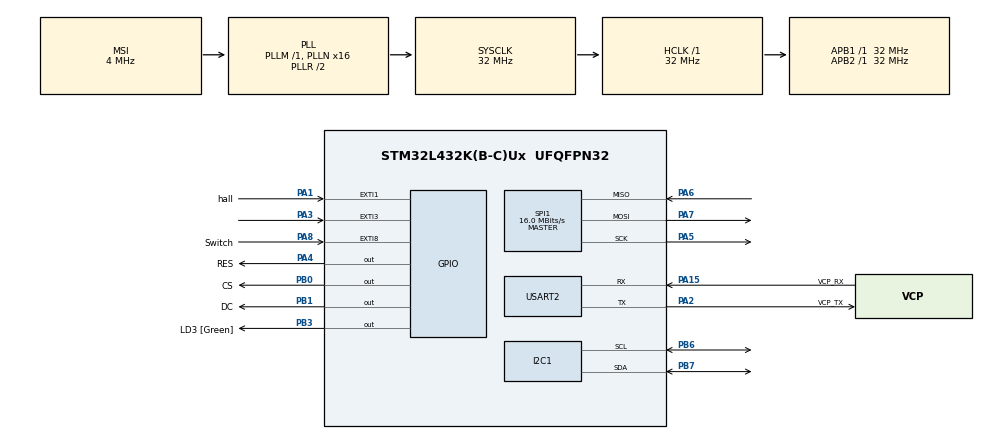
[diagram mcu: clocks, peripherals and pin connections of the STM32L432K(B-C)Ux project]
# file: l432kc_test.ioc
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I2C1.Timing=0x00B07CB4
Mcu.Family=STM32L4
Mcu.Name=STM32L432K(B-C)Ux
Mcu.Package=UFQFPN32
NVIC.EXTI3_IRQn=true\:1\:0\:true\:false\:true\:true\:true\:true
NVIC.EXTI9_5_IRQn=true\:1\:0\:true\:false\:true\:true\:true\:true
NVIC.PriorityGroup=NVIC_PRIORITYGROUP_4
NVIC.TIM2_IRQn=true\:0\:0\:false\:false\:true\:true\:true\:true
PA0.GPIO_Label=MCO [High speed clock in]
PA0.Mode=HSE-External-Clock-Source-for-LittleOrca
PA0.Signal=RCC_CK_IN
PA1.GPIO_Label=hall
PA1.GPIO_ModeDefaultEXTI=GPIO_MODE_EVT_FALLING
PA1.GPIO_PuPd=GPIO_PULLUP
PA1.Signal=GPXTI1
PA13\ (JTMS-SWDIO).GPIO_Label=SWDIO
PA13\ (JTMS-SWDIO).Mode=Serial_Wire
PA13\ (JTMS-SWDIO).Signal=SYS_JTMS-SWDIO
PA14\ (JTCK-SWCLK).GPIO_Label=SWCLK
PA14\ (JTCK-SWCLK).Mode=Serial_Wire
PA14\ (JTCK-SWCLK).Signal=SYS_JTCK-SWCLK
PA15\ (JTDI).GPIO_Label=VCP_RX
PA15\ (JTDI).Mode=Asynchronous
PA15\ (JTDI).Signal=USART2_RX
PA2.GPIO_Label=VCP_TX
PA2.Mode=Asynchronous
PA2.Signal=USART2_TX
PA3.GPIO_PuPd=GPIO_PULLDOWN
PA3.Signal=GPXTI3
PA4.GPIO_Label=RES
PA4.Signal=GPIO_Output
PA5.Mode=Full_Duplex_Master
PA5.Signal=SPI1_SCK
PA6.Mode=Full_Duplex_Master
PA6.Signal=SPI1_MISO
PA7.Mode=Full_Duplex_Master
PA7.Signal=SPI1_MOSI
PA8.GPIO_Label=Switch
PA8.GPIO_PuPd=GPIO_PULLUP
PA8.Signal=GPXTI8
PB0.GPIO_Label=CS
PB0.Signal=GPIO_Output
PB1.GPIO_Label=DC
PB1.Signal=GPIO_Output
PB3\ (JTDO-TRACESWO).GPIO_Label=LD3 [Green]
PB3\ (JTDO-TRACESWO).GPIO_PuPd=GPIO_NOPULL
PB3\ (JTDO-TRACESWO).Signal=GPIO_Output
PB6.Mode=I2C
PB6.Signal=I2C1_SCL
PB7.Mode=I2C
PB7.Signal=I2C1_SDA
PC14-OSC32_IN\ (PC14).Mode=LSE-External-Oscillator
PC14-OSC32_IN\ (PC14).Signal=RCC_OSC32_IN
PC15-OSC32_OUT\ (PC15).Mode=LSE-External-Oscillator
PC15-OSC32_OUT\ (PC15).Signal=RCC_OSC32_OUT
ProjectManager.HeapSize=0x200
ProjectManager.StackSize=0x400
ProjectManager.TargetToolchain=STM32CubeIDE
RCC.AHBFreq_Value=32000000
RCC.APB1Freq_Value=32000000
RCC.APB1TimFreq_Value=32000000
RCC.APB2Freq_Value=32000000
RCC.APB2TimFreq_Value=32000000
RCC.CortexFreq_Value=32000000
RCC.HCLKFreq_Value=32000000
RCC.HSE_VALUE=8000000
RCC.HSI16_VALUE=16000000
RCC.HSI48_VALUE=48000000
RCC.HSI_VALUE=16000000
RCC.MSI_VALUE=4000000
RCC.PLLMUL=RCC_PLLMUL_4
RCC.PLLN=16
RCC.SYSCLKFreq_VALUE=32000000
RCC.SYSCLKSource=RCC_SYSCLKSOURCE_PLLCLK
RCC.VCOOutputFreq_Value=64000000
SPI1.CalculateBaudRate=16.0 MBits/s
SPI1.DataSize=SPI_DATASIZE_8BIT
SPI1.Direction=SPI_DIRECTION_2LINES
SPI1.Mode=SPI_MODE_MASTER
SPI1.VirtualType=VM_MASTER
TIM2.Period=499
TIM2.Prescaler=31999
USART2.VirtualMode-Asynchronous=VM_ASYNC
VP_TIM2_VS_ClockSourceINT.Mode=Internal
board=NUCLEO-L432KC

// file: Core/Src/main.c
/* USER CODE BEGIN Header */
/**
  ******************************************************************************
  * @file    main.c
  * @brief   Bike Computer: BMI160 + BME280 + SSD1306 + Hall + Button + Power
  ******************************************************************************
  */
/* USER CODE END Header */

#include "main.h"
#include "i2c.h"
#include "spi.h"
#include "tim.h"
#include "usart.h"
#include "gpio.h"

/* USER CODE BEGIN Includes */
#include <stdio.h>
#include <string.h>
#include <stdarg.h>
#include <math.h>

#include "bmi160.h"
#include "bmi160_port.h"

#include "bme280.h"
#include "bme280_defs.h"

#include "ssd1306.h"
#include "ssd1306_fonts.h"
#include "hall.h"
#include "stm32l4xx_hal.h"
/* USER CODE END Includes */

/* USER CODE BEGIN PTD */
typedef struct { float alt_m; float trip_m; uint32_t t_ms; } sample_t;
/* USER CODE END PTD */

/* USER CODE BEGIN PD */
#define ACC_LSB_PER_G_2G        16384.0f
#define GYR_LSB_PER_DPS_250     131.2f

#define IMU_PERIOD_MS           200u    /* IMU tick */
#define BME_PERIOD_MS           1000u   /* BME tick */

#define WHEEL_CIRCUMFERENCE_M   2.096f  /* calibrate to your wheel */
#define HALL_DEBOUNCE_MS        12u
#define HALL_STOP_TIMEOUT_MS    2000u   /* no pulses for this time => standstill */
#define HALL_EMA_TAU_S          0.6f    /* EMA time constant [s] */
#define SPEED_MIN_MOVING_KMH    1.0f    /* autopause threshold */

#define MIN_DT_MS               1u
#define MAX_SPEED_KMH           120.0f  /* sanity limit */

#define ALT_CALIBRATION_M       0.0f    /* 0 => ALT=0 on start; or put known AMSL altitude */

#define GRAD_WINDOW_S           5u      /* gradient window 5 s */
#define VAM_WINDOW_S            30u     /* VAM window 30 s */
#define PRESS_TREND_MIN         15u     /* pressure trend (minutes) */

#define HIST5_LEN               (GRAD_WINDOW_S*5u)      /* 5 Hz */
#define HIST30_LEN              (VAM_WINDOW_S*5u)       /* 5 Hz */
#define PTREND_LEN              (PRESS_TREND_MIN*60u)   /* 1 Hz */

/* Button – uses Switch_Pin / Switch_GPIO_Port from main.h */
#define BTN_PORT        Switch_GPIO_Port
#define BTN_PIN         Switch_Pin
#define BTN_DEBOUNCE_MS 150u

/* Vibration RMS window (2 s at 5 Hz) */
#define VIB_LEN         10u

#define ICON_PLAY               ">"
#define ICON_PAUSE              "||"

/* --- Power model constants --- */
#define MASS_TOTAL_KG   90.0f   /* rider + bike mass, change for yourself */
#define C_RR            0.004f  /* rolling resistance coefficient */
#define RHO_AIR         1.20f   /* air density [kg/m^3] */
#define CD_AREA         0.35f   /* CdA [m^2] */
#define HUMAN_EFF       0.25f   /* mechanical efficiency (25%) */
/* USER CODE END PD */

/* USER CODE BEGIN PM */
#ifndef M_PI
#define M_PI 3.14159265358979323846
#endif

#define DEG(x) ((x) * (180.0f/(float)M_PI))
#define CLAMP(x,a,b) ((x)<(a)?(a):((x)>(b)?(b):(x)))

#ifndef BME280_REG_CHIP_ID
#define BME280_REG_CHIP_ID   0xD0
#define BME280_REG_CTRL_HUM  0xF2
#define BME280_REG_STATUS    0xF3
#define BME280_REG_CTRL_MEAS 0xF4
#define BME280_REG_CONFIG    0xF5
#endif
/* USER CODE END PM */

/* USER CODE BEGIN PV */
static struct bmi160_dev dev_bmi;
static struct bme280_dev dev_bme;

static uint16_t bme_addr = (0x76u << 1);

static uint32_t t_last_imu = 0;
static uint32_t t_last_bme = 0;

/* --- Ride / trip --- */
volatile uint32_t g_hall_count    = 0;
volatile uint32_t g_last_pulse_ms = 0;

static hall_state_t g_hall;

static float    g_speed_kmh       = 0.0f;   /* displayed speed */
static float    g_speed_filt_kmh  = 0.0f;   /* filtered speed (EMA) */
static float    g_speed_inst_kmh  = 0.0f;   /* instantaneous speed */
static float    g_max_speed_kmh   = 0.0f;
static float    g_trip_m          = 0.0f;   /* distance [m] */
static uint32_t g_moving_ms       = 0;      /* moving time (autopause) */
static uint8_t  g_autopause       = 1;      /* 1 = pause */

/* --- Altimeter / climb --- */
static float    g_p0_hpa          = 1013.25f;  /* reference pressure */
static uint8_t  g_p0_set          = 0;
static float    g_alt_m           = 0.0f;
static float    g_prev_alt_m      = 0.0f;
static float    g_grade_pct       = 0.0f;
static float    g_vam_mph         = 0.0f;      /* m/h */
static float    g_total_ascent_m  = 0.0f;

static sample_t hist5[HIST5_LEN];   static uint16_t h5_idx=0,  h5_cnt=0;
static sample_t hist30[HIST30_LEN]; static uint16_t h30_idx=0, h30_cnt=0;

/* --- Environment --- */
static float g_temp_c = 0.0f, g_press_hpa = 0.0f, g_hum_rh = 0.0f;
static float g_dewpoint_c = 0.0f;
static float g_press_trend_dhpa = 0.0f;  /* change in 15 min */
static char  g_press_trend_char  = '~';  /* '^', 'v', '-', '~' */
static float p_hist[PTREND_LEN]; static uint16_t p_idx=0, p_cnt=0;

/* --- IMU --- */
static float g_ax=0, g_ay=0, g_az=0;     /* [g] */
static float g_gx=0, g_gy=0, g_gz=0;     /* [dps] */
static float g_t_imu_c=0.0f;
static float g_roll_deg=0.0f, g_pitch_deg=0.0f;

static float vib_sq[VIB_LEN]; static uint8_t vib_i=0, vib_n=0;
static float g_vibr_rms_g = 0.0f;

/* --- Power / energy --- */
static float g_power_w        = 0.0f;  /* instantaneous total power [W] */
static float g_power_avg_w    = 0.0f;  /* average power over moving time [W] */
static float g_kcal_total     = 0.0f;  /* total energy [kcal] */
static float g_mech_energy_J  = 0.0f;  /* cumulative mechanical energy [J] */

/* --- UI --- */
enum { PAGE_RIDE=0, PAGE_CLIMB, PAGE_ENV, PAGE_IMU, PAGE_STATS, PAGE_COUNT };
static   uint8_t  g_ui_page = PAGE_RIDE;

/* Button logic (polling) */
static uint8_t  g_btn_pressed = 0;         // logical pressed state
static uint8_t  g_btn_event   = 0;         // new press event
static uint32_t g_btn_last_change_ms = 0;  // for debounce
/* USER CODE END PV */

void SystemClock_Config(void);
/* USER CODE BEGIN PFP */
static void uart_puts(const char *s);
static void uart_printf(const char *fmt, ...);
static void i2c_scan_print(void);

/* BMI160 */
static void  bmi160_init_polling(void);
static int   bmi160_read_acc_gyr(float *ax_g, float *ay_g, float *az_g,
                                 float *gx_dps, float *gy_dps, float *gz_dps);
static float bmi160_read_temperature_c(void);

/* BME280 – API + fallback */
static int  bme280_probe_and_init(void);
static int  bme280_read(float *temp_c, float *press_hpa, float *hum_rh);

/* Altitude & meteo helpers */
static void  update_alt_grad_vam_from_samples(void);
static float dewpoint_c(float T_c, float RH);
static void  update_pressure_trend(float p_hpa);

/* OLED / UI */
static void oled_init_and_banner(void);
static void UI_DrawRide(void);
static void UI_DrawClimb(void);
static void UI_DrawEnv(void);
static void UI_DrawIMU(void);
static void UI_DrawStats(void);

/* Button polling */
static uint8_t BTN_IsPressedRaw(void);
static void    BTN_PollTask(void);
/* USER CODE END PFP */

/* USER CODE BEGIN 0 */
static void uart_puts(const char *s) {
  HAL_UART_Transmit(&huart2, (uint8_t*)s, (uint16_t)strlen(s), HAL_MAX_DELAY);
}

static void uart_printf(const char *fmt, ...) {
  char buf[192];
  va_list ap;
  va_start(ap, fmt);
  int n = vsnprintf(buf, sizeof(buf), fmt, ap);
  va_end(ap);
  if (n > 0) {
    if (n > (int)sizeof(buf)) n = (int)sizeof(buf);
    HAL_UART_Transmit(&huart2, (uint8_t*)buf, (uint16_t)n, HAL_MAX_DELAY);
  }
}

static void i2c_scan_print(void) {
  uart_puts("I2C:");
  for (uint8_t a = 1; a < 0x7F; ++a) {
    if (HAL_I2C_IsDeviceReady(&hi2c1, (a<<1), 1, 5) == HAL_OK)
      uart_printf(" %02X", a);
  }
  uart_puts("\r\n");
}
/* USER CODE END 0 */

int main(void)
{
  /* Reset of all peripherals, Initializes the Flash interface and the Systick. */
  HAL_Init();

  /* Configure the system clock */
  SystemClock_Config();

  /* Initialize all configured peripherals */
  MX_GPIO_Init();
  MX_USART2_UART_Init();
  MX_I2C1_Init();
  MX_SPI1_Init();
  MX_TIM2_Init();

  HAL_TIM_Base_Start_IT(&htim2);  /* Timer for speed / power / alt updates */

  /* Hall processing init (speed/distance from period between pulses) */
  Hall_Init(&g_hall, WHEEL_CIRCUMFERENCE_M);
  Hall_SetParams(&g_hall, HALL_DEBOUNCE_MS, HALL_STOP_TIMEOUT_MS, MAX_SPEED_KMH, HALL_EMA_TAU_S);

  uart_puts("\r\n--- Bike Computer start ---\r\n");
  i2c_scan_print();

  /* OLED */
  oled_init_and_banner();

  /* BMI160 */
  bmi160_port_init_i2c(&dev_bmi);
  bmi160_init_polling();

  /* BME280 */
  if (bme280_probe_and_init() == 0) uart_puts("BME280 OK\r\n");
  else                              uart_puts("BME280 NOT FOUND\r\n");

  /* CSV header (log) */
  uart_puts("time_ms,ax_g,ay_g,az_g,gx_dps,gy_dps,gz_dps,temp_IMU_C,"
            "Temp_C,Press_hPa,Hum_%RH,Alt_m,Grad_pct,VAM_mph,Ascent_m,"
            "Speed_kmh,Trip_km,Moving_s,AvgMov_kmh,Max_kmh,Power_W,AvgPow_W,Kcal\r\n");

  /* Main loop */
  t_last_imu = t_last_bme = HAL_GetTick();
  while (1) {
    uint32_t now = HAL_GetTick();

    /* Hall maintenance: apply stop timeout only (avoid decaying speed between valid pulses) */
    if (g_hall.last_pulse_ms != 0u && (uint32_t)(now - g_hall.last_pulse_ms) > g_hall.stop_timeout_ms) {
      Hall_TaskMs(&g_hall, now);
    }

    /* --- BUTTON: priority, handle first --- */
    BTN_PollTask();
    if (g_btn_event) {
      g_btn_event = 0;
      g_ui_page = (uint8_t)((g_ui_page + 1u) % PAGE_COUNT);
      uart_printf("BTN EVENT -> page=%u\r\n", (unsigned)g_ui_page);
    }

    /* IMU every 200 ms */
    if ((now - t_last_imu) >= IMU_PERIOD_MS) {
      (void)bmi160_read_acc_gyr(&g_ax,&g_ay,&g_az,&g_gx,&g_gy,&g_gz);
      g_t_imu_c = bmi160_read_temperature_c();

      /* Roll/Pitch from accelerometer, simple LPF */
      float roll  = DEG(atan2f(g_ay, g_az));
      float pitch = DEG(atan2f(-g_ax, sqrtf(g_ay*g_ay + g_az*g_az)));
      const float a_ang = 0.2f;
      g_roll_deg  = a_ang*roll  + (1.0f-a_ang)*g_roll_deg;
      g_pitch_deg = a_ang*pitch + (1.0f-a_ang)*g_pitch_deg;

      /* Vibration RMS: HP(|a|-1g), 2 s window */
      float amag = sqrtf(g_ax*g_ax + g_ay*g_ay + g_az*g_az);
      float hp   = fabsf(amag - 1.0f);
      vib_sq[vib_i] = hp*hp;
      vib_i = (uint8_t)((vib_i+1u) % VIB_LEN);
      if (vib_n < VIB_LEN) vib_n++;
      float sum=0.0f;
      for (uint8_t i=0;i<vib_n;i++) sum += vib_sq[i];
      g_vibr_rms_g = sqrtf(sum / (float)vib_n);

      t_last_imu = now;
    }

    /* BME every 1 s */
    if ((now - t_last_bme) >= BME_PERIOD_MS) {
      if (bme280_read(&g_temp_c, &g_press_hpa, &g_hum_rh) == 0) {
        /* Calibrate P0 at start */
        if (!g_p0_set) {
          if (ALT_CALIBRATION_M != 0.0f) {
            g_p0_hpa = g_press_hpa / powf(1.0f - (ALT_CALIBRATION_M/44330.0f), 5.255f);
          } else {
            g_p0_hpa = g_press_hpa; /* ALT=0 at start */
          }
          g_p0_set = 1;
        }

        /* Altitude (ISA-like) */
        float ratio = CLAMP(g_press_hpa / g_p0_hpa, 0.001f, 2.0f);
        g_prev_alt_m = g_alt_m;
        g_alt_m = 44330.0f * (1.0f - powf(ratio, 0.19029495f));

        /* Total ascent: only positive dh and while moving */
        float dh = g_alt_m - g_prev_alt_m;
        if (dh > 0.25f && g_speed_kmh >= SPEED_MIN_MOVING_KMH) {
          g_total_ascent_m += dh;
        }

        /* Dew point & pressure trend */
        g_dewpoint_c = dewpoint_c(g_temp_c, g_hum_rh);
        update_pressure_trend(g_press_hpa);
      }
      t_last_bme = now;
    }

    /* UI – draw active page */
    switch (g_ui_page) {
      default:
      case PAGE_RIDE:  UI_DrawRide();  break;
      case PAGE_CLIMB: UI_DrawClimb(); break;
      case PAGE_ENV:   UI_DrawEnv();   break;
      case PAGE_IMU:   UI_DrawIMU();   break;
      case PAGE_STATS: UI_DrawStats(); break;
    }

    /* CSV log every ~50 ms */
    float avg_mov = (g_moving_ms>0)
        ? ( (g_trip_m/1000.0f) / ((float)g_moving_ms/3600000.0f) )
        : 0.0f;

    uart_printf("%lu,%.3f,%.3f,%.3f,%.3f,%.3f,%.3f,%.2f,"
                "%.2f,%.2f,%.2f,%.2f,%.1f,%.0f,%.1f,"
                "%.2f,%.3f,%lu,%.2f,%.2f,%.1f,%.1f,%.1f\r\n",
      (unsigned long)now,
      g_ax,g_ay,g_az,g_gx,g_gy,g_gz,g_t_imu_c,
      g_temp_c,g_press_hpa,g_hum_rh,g_alt_m,g_grade_pct,g_vam_mph,
      g_total_ascent_m,g_speed_kmh,g_trip_m/1000.0f,(unsigned long)(g_moving_ms/1000U),
      avg_mov,g_max_speed_kmh,g_power_w,g_power_avg_w,g_kcal_total
    );
    LowPower_EnterStop2();
    //LowPower_EnterSleep();
    //HAL_Delay(50);
  }
}

void SystemClock_Config(void)
{
  RCC_OscInitTypeDef RCC_OscInitStruct = {0};
  RCC_ClkInitTypeDef RCC_ClkInitStruct = {0};

  /** Configure the main internal regulator output voltage */
  if (HAL_PWREx_ControlVoltageScaling(PWR_REGULATOR_VOLTAGE_SCALE1) != HAL_OK)
  {
    Error_Handler();
  }

  /** Configure LSE Drive Capability */
  HAL_PWR_EnableBkUpAccess();
  __HAL_RCC_LSEDRIVE_CONFIG(RCC_LSEDRIVE_LOW);
  __HAL_RCC_LSEDRIVE_CONFIG(RCC_LSEDRIVE_LOW);

  /** Initializes the RCC Oscillators */
  RCC_OscInitStruct.OscillatorType = RCC_OSCILLATORTYPE_LSE|RCC_OSCILLATORTYPE_MSI;
  RCC_OscInitStruct.LSEState = RCC_LSE_ON;
  RCC_OscInitStruct.MSIState = RCC_MSI_ON;
  RCC_OscInitStruct.MSICalibrationValue = 0;
  RCC_OscInitStruct.MSIClockRange = RCC_MSIRANGE_6;
  RCC_OscInitStruct.PLL.PLLState = RCC_PLL_ON;
  RCC_OscInitStruct.PLL.PLLSource = RCC_PLLSOURCE_MSI;
  RCC_OscInitStruct.PLL.PLLM = 1;
  RCC_OscInitStruct.PLL.PLLN = 16;
  RCC_OscInitStruct.PLL.PLLP = RCC_PLLP_DIV7;
  RCC_OscInitStruct.PLL.PLLQ = RCC_PLLQ_DIV2;
  RCC_OscInitStruct.PLL.PLLR = RCC_PLLR_DIV2;
  if (HAL_RCC_OscConfig(&RCC_OscInitStruct) != HAL_OK)
  {
    Error_Handler();
  }

  /** Initializes the CPU, AHB and APB buses clocks */
  RCC_ClkInitStruct.ClockType = RCC_CLOCKTYPE_HCLK|RCC_CLOCKTYPE_SYSCLK
                              |RCC_CLOCKTYPE_PCLK1|RCC_CLOCKTYPE_PCLK2;
  RCC_ClkInitStruct.SYSCLKSource = RCC_SYSCLKSOURCE_PLLCLK;
  RCC_ClkInitStruct.AHBCLKDivider = RCC_SYSCLK_DIV1;
  RCC_ClkInitStruct.APB1CLKDivider = RCC_HCLK_DIV1;
  RCC_ClkInitStruct.APB2CLKDivider = RCC_HCLK_DIV1;

  if (HAL_RCC_ClockConfig(&RCC_ClkInitStruct, FLASH_LATENCY_1) != HAL_OK)
  {
    Error_Handler();
  }

  /** Enable MSI Auto calibration */
  HAL_RCCEx_EnableMSIPLLMode();
}

/* ==================== BMI160 ==================== */
static void bmi160_init_polling(void)
{
  if (bmi160_init(&dev_bmi) != BMI160_OK) {
    uart_puts("BMI160 init FAIL\r\n");
    Error_Handler();
  }
  dev_bmi.accel_cfg.odr   = BMI160_ACCEL_ODR_25HZ;
  dev_bmi.accel_cfg.range = BMI160_ACCEL_RANGE_2G;
  dev_bmi.accel_cfg.bw    = BMI160_ACCEL_BW_NORMAL_AVG4;
  dev_bmi.accel_cfg.power = BMI160_ACCEL_NORMAL_MODE;

  dev_bmi.gyro_cfg.odr    = BMI160_GYRO_ODR_25HZ;
  dev_bmi.gyro_cfg.range  = BMI160_GYRO_RANGE_250_DPS;
  dev_bmi.gyro_cfg.bw     = BMI160_GYRO_BW_NORMAL_MODE;
  dev_bmi.gyro_cfg.power  = BMI160_GYRO_NORMAL_MODE;

  if (bmi160_set_sens_conf(&dev_bmi) != BMI160_OK) {
    uart_puts("BMI160 cfg FAIL\r\n");
    Error_Handler();
  }
}

static int bmi160_read_acc_gyr(float *ax_g, float *ay_g, float *az_g,
                               float *gx_dps, float *gy_dps, float *gz_dps)
{
  struct bmi160_sensor_data a, g;
  if (bmi160_get_sensor_data(BMI160_ACCEL_SEL|BMI160_GYRO_SEL, &a, &g, &dev_bmi) != BMI160_OK)
    return -1;

  *ax_g = a.x / ACC_LSB_PER_G_2G;
  *ay_g = a.y / ACC_LSB_PER_G_2G;
  *az_g = a.z / ACC_LSB_PER_G_2G;
  *gx_dps = g.x / GYR_LSB_PER_DPS_250;
  *gy_dps = g.y / GYR_LSB_PER_DPS_250;
  *gz_dps = g.z / GYR_LSB_PER_DPS_250;
  return 0;
}

/* TEMP_LSB(0x20)/MSB(0x21) -> T[°C] ≈ 23 + raw/512 */
static float bmi160_read_temperature_c(void)
{
  int16_t raw = 0;
  (void)bmi160_get_regs(0x20, (uint8_t*)&raw, 2, &dev_bmi);
  return 23.0f + ((float)raw / 512.0f);
}

/* ==================== BME280: I2C glue & fallback ==================== */
static int8_t bme_i2c_read(uint8_t reg, uint8_t *data, uint32_t len, void *intf_ptr)
{
  uint16_t addr = *(uint16_t*)intf_ptr;
  return (HAL_I2C_Mem_Read(&hi2c1, addr, reg, I2C_MEMADD_SIZE_8BIT,
                           data, (uint16_t)len, 100) == HAL_OK) ? 0 : -1;
}

static int8_t bme_i2c_write(uint8_t reg, const uint8_t *data, uint32_t len, void *intf_ptr)
{
  uint16_t addr = *(uint16_t*)intf_ptr;
  return (HAL_I2C_Mem_Write(&hi2c1, addr, reg, I2C_MEMADD_SIZE_8BIT,
                            (uint8_t*)data, (uint16_t)len, 100) == HAL_OK) ? 0 : -1;
}

static void bme_delay_us(uint32_t us, void *intf_ptr)
{
  (void)intf_ptr;
  HAL_Delay((us + 999U)/1000U);
}

static int bme_try_addr(uint16_t addr7)
{
  uint8_t id = 0;
  uint16_t addr = (uint16_t)(addr7 << 1);
  dev_bme.intf     = BME280_I2C_INTF;
  dev_bme.read     = bme_i2c_read;
  dev_bme.write    = bme_i2c_write;
  dev_bme.delay_us = bme_delay_us;
  dev_bme.intf_ptr = &bme_addr;
  bme_addr = addr;

  if (bme_i2c_read(BME280_REG_CHIP_ID, &id, 1, &bme_addr) != 0 || id != BME280_CHIP_ID)
    return -1;

  if (bme280_init(&dev_bme) != BME280_OK) return -2;

#if defined(BME280_OSR_TEMP_SEL) && defined(BME280_FILTER_SEL)
  struct bme280_settings s;
  memset(&s, 0, sizeof(s));
  s.osr_t        = BME280_OVERSAMPLING_2X;
  s.osr_p        = BME280_OVERSAMPLING_2X;
  s.osr_h        = BME280_OVERSAMPLING_2X;
  s.filter       = BME280_FILTER_COEFF_4;
  s.standby_time = BME280_STANDBY_TIME_1000_MS;

  uint8_t sel = (uint8_t)(BME280_OSR_TEMP_SEL | BME280_OSR_PRESS_SEL |
                          BME280_OSR_HUM_SEL  | BME280_FILTER_SEL    |
                          BME280_STANDBY_SEL);

  if (bme280_set_sensor_settings(sel, &s, &dev_bme) != BME280_OK) return -3;

# ifdef BME280_NORMAL_MODE
  if (bme280_set_sensor_mode(BME280_NORMAL_MODE, &dev_bme) != BME280_OK) return -4;
# else
  uint8_t ctrl_meas = (uint8_t)((2u<<5) | (2u<<2) | 3u);
  (void)bme_i2c_write(BME280_REG_CTRL_MEAS, &ctrl_meas, 1, &bme_addr);
# endif

#else
  uint8_t v = 0x02; /* osrs_h=2x */
  (void)bme_i2c_write(BME280_REG_CTRL_HUM, &v, 1, &bme_addr);
  v = 0xA8;         /* t_sb=1000ms, filter=4 */
  (void)bme_i2c_write(BME280_REG_CONFIG, &v, 1, &bme_addr);
  v = 0x4B;         /* osrs_t=2x, osrs_p=2x, mode=normal */
  (void)bme_i2c_write(BME280_REG_CTRL_MEAS, &v, 1, &bme_addr);
#endif

  return 0;
}

static int bme280_probe_and_init(void)
{
  if (bme_try_addr(0x76) == 0) return 0;
  return bme_try_addr(0x77);
}

static int bme280_read(float *temp_c, float *press_hpa, float *hum_rh)
{
  struct bme280_data d = {0};
#ifdef BME280_ALL
  if (bme280_get_sensor_data(BME280_ALL, &d, &dev_bme) != BME280_OK) return -1;
#else
  if (bme280_get_sensor_data(0x07, &d, &dev_bme) != BME280_OK) return -1;
#endif
  *temp_c    = d.temperature;
  *press_hpa = d.pressure / 100.0f;
  *hum_rh    = d.humidity;
  return 0;
}

/* ==================== Helpers ==================== */
static float dewpoint_c(float T_c, float RH)
{
  /* Magnus-Tetens */
  const float a = 17.62f, b = 243.12f;
  float gamma = (a*T_c)/(b+T_c) + logf(CLAMP(RH,1.0f,100.0f)/100.0f);
  return (b*gamma)/(a - gamma);
}

static void update_pressure_trend(float p_hpa)
{
  p_hist[p_idx] = p_hpa;
  p_idx = (uint16_t)((p_idx + 1u) % PTREND_LEN);
  if (p_cnt < PTREND_LEN) p_cnt++;

  if (p_cnt >= PTREND_LEN) {
    uint16_t old_idx = (uint16_t)(p_idx % PTREND_LEN);
    float dp = p_hpa - p_hist[old_idx];
    g_press_trend_dhpa = dp;
    if      (dp >  0.5f) g_press_trend_char = '^';
    else if (dp < -0.5f) g_press_trend_char = 'v';
    else                 g_press_trend_char = '-';
  } else {
    g_press_trend_char = '~'; /* not enough data */
  }
}

/* Store samples and compute GRAD / VAM (called from TIM2 every ~200 ms) */
static void update_alt_grad_vam_from_samples(void)
{
  uint32_t now = HAL_GetTick();

  /* push sample into 5s / 30s buffers */
  hist5[h5_idx]   = (sample_t){ .alt_m=g_alt_m, .trip_m=g_trip_m, .t_ms=now };
  h5_idx = (uint16_t)((h5_idx+1u) % HIST5_LEN);
  if (h5_cnt < HIST5_LEN) h5_cnt++;

  hist30[h30_idx] = (sample_t){ .alt_m=g_alt_m, .trip_m=g_trip_m, .t_ms=now };
  h30_idx = (uint16_t)((h30_idx+1u) % HIST30_LEN);
  if (h30_cnt < HIST30_LEN) h30_cnt++;

  /* Gradient: 5 s window */
  if (h5_cnt >= HIST5_LEN) {
    uint16_t old = (uint16_t)(h5_idx % HIST5_LEN);
    float ds = g_trip_m - hist5[old].trip_m; /* [m] */
    float dh = g_alt_m  - hist5[old].alt_m;  /* [m] */
    if (ds > 1.0f) g_grade_pct = CLAMP(100.0f * (dh/ds), -30.0f, 30.0f);
    else           g_grade_pct = 0.0f;
  }

  /* VAM: 30 s window (m/h) */
  if (h30_cnt >= HIST30_LEN) {
    uint16_t old = (uint16_t)(h30_idx % HIST30_LEN);
    float dt = (float)(now - hist30[old].t_ms) / 1000.0f; /* s */
    float dh = g_alt_m - hist30[old].alt_m;               /* m */
    if (dt > 1.0f) g_vam_mph = (dh / dt) * 3600.0f;
    else           g_vam_mph = 0.0f;
  }
}

/* ==================== OLED / UI ==================== */
static void oled_init_and_banner(void)
{
  ssd1306_Init();
  ssd1306_Fill(Black);
  ssd1306_SetCursor(0, 0);  ssd1306_WriteString("STM32 BikeComp", Font_7x10, White);
  ssd1306_SetCursor(0,12);  ssd1306_WriteString("Ride/Climb/Env", Font_7x10, White);
  ssd1306_SetCursor(0,24);  ssd1306_WriteString("IMU/Stats: BTN", Font_7x10, White);
  ssd1306_UpdateScreen();
}

static void UI_DrawRide(void)
{
  char ln[32];
  float avg_mov = (g_moving_ms>0)
      ? ( (g_trip_m/1000.0f) / ((float)g_moving_ms/3600000.0f) )
      : 0.0f;

  ssd1306_Fill(Black);

  /* Speed – big digits */
  ssd1306_SetCursor(0, 0);
  snprintf(ln, sizeof(ln), "%5.1f", g_speed_kmh);
  ssd1306_WriteString(ln, Font_11x18, White);
  ssd1306_SetCursor(90, 0);
  ssd1306_WriteString("km/h", Font_6x8, White);

  /* Distance */
  ssd1306_SetCursor(0, 22);
  snprintf(ln, sizeof(ln), "Distance %5.2f km", g_trip_m/1000.0f);
  ssd1306_WriteString(ln, Font_7x10, White);

  /* Moving time */
  ssd1306_SetCursor(0, 34);
  uint32_t s  = g_moving_ms/1000U;
  uint32_t hh = s/3600U, mm=(s/60U)%60U, ss=s%60U;
  snprintf(ln, sizeof(ln), "Ride %2lu:%02lu:%02lu",
           (unsigned long)hh,(unsigned long)mm,(unsigned long)ss);
  ssd1306_WriteString(ln, Font_7x10, White);

  /* Power & kcal + pause icon */
  ssd1306_SetCursor(0, 46);
  snprintf(ln, sizeof(ln), "Power %3.0f W  %4.0f kcal", g_power_w, g_kcal_total);
  ssd1306_WriteString(ln, Font_7x10, White);

  ssd1306_SetCursor(110, 34);
  ssd1306_WriteString(g_autopause ? ICON_PAUSE : ICON_PLAY, Font_7x10, White);

  ssd1306_UpdateScreen();
}

static void UI_DrawClimb(void)
{
  char ln[32];
  ssd1306_Fill(Black);

  ssd1306_SetCursor(0, 0);
  snprintf(ln,sizeof(ln),"Altitude %6.1f m", g_alt_m);
  ssd1306_WriteString(ln, Font_7x10, White);

  ssd1306_SetCursor(0, 12);
  snprintf(ln,sizeof(ln),"Gradient %5.1f %%", g_grade_pct);
  ssd1306_WriteString(ln, Font_7x10, White);

  ssd1306_SetCursor(0, 24);
  snprintf(ln,sizeof(ln),"Total Ascent %6.0f m", g_total_ascent_m);
  ssd1306_WriteString(ln, Font_7x10, White);

  ssd1306_SetCursor(0, 36);
  snprintf(ln,sizeof(ln),"VAM %5.0f m/h", g_vam_mph);
  ssd1306_WriteString(ln, Font_7x10, White);

  ssd1306_UpdateScreen();
}

static void UI_DrawEnv(void)
{
  char ln[32];
  ssd1306_Fill(Black);

  ssd1306_SetCursor(0, 0);
  snprintf(ln,sizeof(ln),"Air Temp: %.1f C", g_temp_c);
  ssd1306_WriteString(ln, Font_7x10, White);

  ssd1306_SetCursor(0, 12);
  snprintf(ln,sizeof(ln),"Humidity: %.0f %%", g_hum_rh);
  ssd1306_WriteString(ln, Font_7x10, White);

  ssd1306_SetCursor(0, 24);
  snprintf(ln,sizeof(ln),"Pressure: %.1f hPa %c", g_press_hpa, g_press_trend_char);
  ssd1306_WriteString(ln, Font_7x10, White);

  ssd1306_SetCursor(0, 36);
  snprintf(ln,sizeof(ln),"Dew point: %.1f C", g_dewpoint_c);
  ssd1306_WriteString(ln, Font_7x10, White);

  ssd1306_UpdateScreen();
}

static void UI_DrawIMU(void)
{
  char ln[32];
  ssd1306_Fill(Black);

  /* 1st line – Roll */
  ssd1306_SetCursor(0, 0);
  snprintf(ln, sizeof(ln), "Roll   %6.1f", g_roll_deg);
  ssd1306_WriteString(ln, Font_7x10, White);
  ssd1306_WriteString(" deg", Font_7x10, White);

  /* 2nd line – Pitch */
  ssd1306_SetCursor(0, 12);
  snprintf(ln, sizeof(ln), "Pitch  %6.1f", g_pitch_deg);
  ssd1306_WriteString(ln, Font_7x10, White);
  ssd1306_WriteString(" deg", Font_7x10, White);

  /* 3rd line – RMS vibrations */
  ssd1306_SetCursor(0, 24);
  snprintf(ln, sizeof(ln), "Vib RMS %.2f g", g_vibr_rms_g);
  ssd1306_WriteString(ln, Font_7x10, White);

  ssd1306_UpdateScreen();
}

static void UI_DrawStats(void)
{
  char ln[32];
  ssd1306_Fill(Black);

  float avg_mov = (g_moving_ms>0)
      ? ( (g_trip_m/1000.0f) / ((float)g_moving_ms/3600000.0f) )
      : 0.0f;

  uint32_t sm = g_moving_ms/1000U;
  uint32_t hh = sm/3600U, mm=(sm/60U)%60U, ss=sm%60U;

  ssd1306_SetCursor(0, 0);
  snprintf(ln,sizeof(ln),"Max Speed %5.1f", g_max_speed_kmh);
  ssd1306_WriteString(ln, Font_7x10, White);
  ssd1306_WriteString(" km/h", Font_7x10, White);

  ssd1306_SetCursor(0, 12);
  snprintf(ln,sizeof(ln),"Avg Speed %5.1f", avg_mov);
  ssd1306_WriteString(ln, Font_7x10, White);
  ssd1306_WriteString(" km/h", Font_7x10, White);

  ssd1306_SetCursor(0, 24);
  snprintf(ln,sizeof(ln),"Avg Power %3.0f W", g_power_avg_w);
  ssd1306_WriteString(ln, Font_7x10, White);

  ssd1306_SetCursor(0, 36);
  snprintf(ln,sizeof(ln),"Energy %5.0f kcal", g_kcal_total);
  ssd1306_WriteString(ln, Font_7x10, White);

  ssd1306_SetCursor(0, 48);
  snprintf(ln,sizeof(ln),"Ride %2lu:%02lu:%02lu",
           (unsigned long)hh,(unsigned long)mm,(unsigned long)ss);
  ssd1306_WriteString(ln, Font_7x10, White);

  ssd1306_UpdateScreen();
}

/* ==================== BUTTON – POLLING ==================== */
/* Raw read: 1 = pressed, 0 = released
 * Switch_Pin has PULLUP, so:
 *   GPIO_PIN_RESET (0) => button pressed
 *   GPIO_PIN_SET   (1) => button released
 */
static uint8_t BTN_IsPressedRaw(void)
{
  GPIO_PinState s = HAL_GPIO_ReadPin(BTN_PORT, BTN_PIN);
  return (s == GPIO_PIN_RESET) ? 1u : 0u;
}

/* Simple state machine with debounce:
 *  - detects only 0 -> 1 transitions (new press)
 *  - sets g_btn_event = 1
 */
static void BTN_PollTask(void)
{
  static uint8_t last_raw = 0;
  uint32_t now = HAL_GetTick();
  uint8_t raw = BTN_IsPressedRaw();

  if (raw != last_raw) {
    g_btn_last_change_ms = now;
    last_raw = raw;
  }

  if ((now - g_btn_last_change_ms) >= BTN_DEBOUNCE_MS) {
    if (raw && !g_btn_pressed) {
      g_btn_pressed = 1;
      g_btn_event   = 1;
    } else if (!raw && g_btn_pressed) {
      g_btn_pressed = 0;
    }
  }
}

/* ==================== HAL CALLBACKS ==================== */
void HAL_GPIO_EXTI_Callback(uint16_t GPIO_Pin)
{
  /* Hall – using hall_Pin from main.h */
  if (GPIO_Pin == hall_Pin) {
    Hall_OnEdgeMs(&g_hall, HAL_GetTick());
    return;
  }

  /* Button EXTI not used – button handled by polling */
}

/* TIM2: every tick -> speed, autopause, power, history windows */
void HAL_TIM_PeriodElapsedCallback(TIM_HandleTypeDef *htim)
{
  if (htim->Instance == TIM2) {
    static uint32_t last_tim2_ms = 0;
    uint32_t now   = HAL_GetTick();
    uint32_t dt_ms = (last_tim2_ms == 0U) ? 0U : (now - last_tim2_ms);
    last_tim2_ms   = now;

    /* Speed & distance from Hall module (period between pulses) */
    g_speed_inst_kmh  = Hall_SpeedInstKmh(&g_hall);
    g_speed_filt_kmh  = Hall_SpeedFiltKmh(&g_hall);
    g_trip_m          = Hall_DistanceM(&g_hall);
    g_hall_count      = Hall_Pulses(&g_hall);

    /* Autopause + moving time + displayed speed */
    if (g_speed_filt_kmh >= SPEED_MIN_MOVING_KMH) {
      g_moving_ms += (dt_ms > 0U) ? dt_ms : 0U;
      g_autopause = 0;
      g_speed_kmh = g_speed_filt_kmh;
    } else {
      g_autopause = 1;
      g_speed_kmh = 0.0f;
    }

    /* Max speed */
    if (g_speed_filt_kmh > g_max_speed_kmh) g_max_speed_kmh = g_speed_filt_kmh;

    /* Power model & energy integration */
    if (dt_ms > 0U) {
      float dt_s   = (float)dt_ms / 1000.0f;
      float v_mps  = g_speed_filt_kmh / 3.6f;
      float grade  = g_grade_pct / 100.0f;

      if (v_mps <= 0.1f) {
        g_power_w = 0.0f;
      } else {
        float P_climb = MASS_TOTAL_KG * 9.81f * v_mps * grade;
        if (P_climb < 0.0f) P_climb = 0.0f;

        float P_roll  = MASS_TOTAL_KG * 9.81f * C_RR * v_mps;
        float P_aero  = 0.5f * RHO_AIR * CD_AREA * v_mps * v_mps * v_mps;
        float P_total = P_climb + P_roll + P_aero;
        if (P_total < 0.0f) P_total = 0.0f;

        g_power_w = P_total;

        if (g_speed_filt_kmh >= SPEED_MIN_MOVING_KMH) {
          float E_mech = P_total * dt_s;           /* J */
          g_mech_energy_J += E_mech;
          float kcal_step = E_mech / (4184.0f * HUMAN_EFF);
          g_kcal_total += kcal_step;
        }
      }

      if (g_moving_ms > 0U) {
        g_power_avg_w = g_mech_energy_J / ((float)g_moving_ms/1000.0f);
      } else {
        g_power_avg_w = 0.0f;
      }
    }

    /* Update GRAD / VAM windows */
    update_alt_grad_vam_from_samples();
  }
}

void Error_Handler(void)
{
  __disable_irq();
  while (1) {}
}
void LowPower_EnterSleep(void)
{
    /* Zatrzymaj SysTick, żeby nie wybudzał co 1 ms */
    HAL_SuspendTick();

    /* Opcjonalnie: skasuj flagi wakeup */
    __HAL_PWR_CLEAR_FLAG(PWR_FLAG_WU);

    /* Wejście w SLEEP, regulator ON */
    HAL_PWR_EnterSLEEPMode(PWR_MAINREGULATOR_ON, PWR_SLEEPENTRY_WFI);

    /* Po wybudzeniu */
    HAL_ResumeTick();
}
void LowPower_EnterStop2(void)
{
    /* Wyłącz debug w STOP (jeśli debuger podpięty, potrafi podnosić pobór) */
#ifdef DBGMCU
    HAL_DBGMCU_DisableDBGStopMode();
#endif

    /* Zatrzymaj SysTick */
    HAL_SuspendTick();

    /* Opcjonalne flagi low-power (często dają dodatkowy zysk) */
    //HAL_PWREx_EnableUltraLowPower();
    //HAL_PWREx_EnableFastWakeUp();

    /* Skasuj flagę wybudzenia */
    __HAL_PWR_CLEAR_FLAG(PWR_FLAG_WU);

    /* Wejście w STOP2 */
    HAL_PWREx_EnterSTOP2Mode(PWR_STOPENTRY_WFI);

    /* ====== po wybudzeniu ======
       W STOP2 zegary systemowe zwykle wracają do MSI/bez PLL.
       Trzeba przywrócić konfigurację zegarów. */
    SystemClock_Config();

    /* Wznów SysTick */
    HAL_ResumeTick();
}
